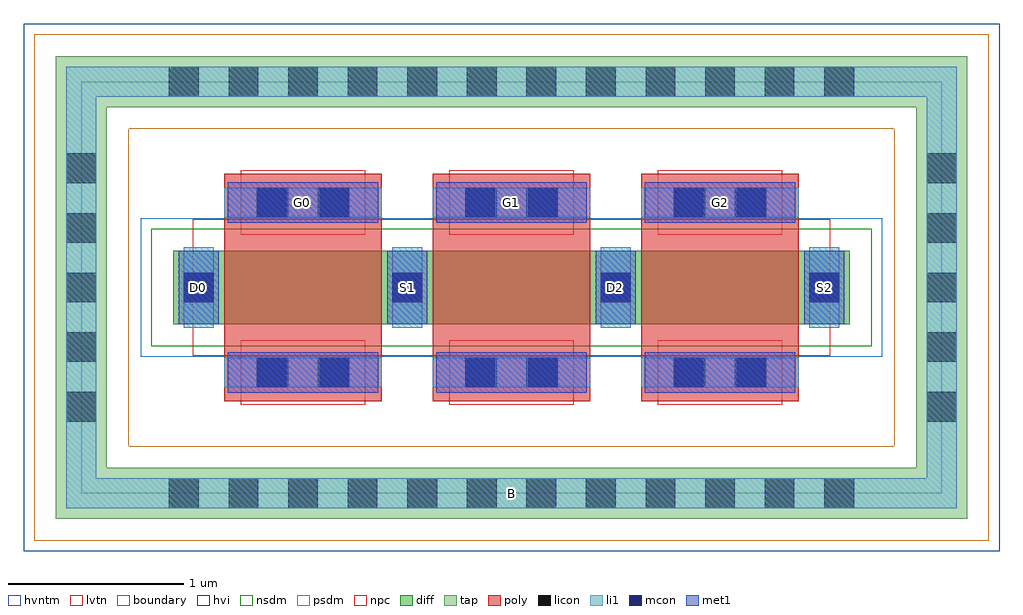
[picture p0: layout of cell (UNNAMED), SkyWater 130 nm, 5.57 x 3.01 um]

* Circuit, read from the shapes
.subckt (UNNAMED) B D0 D2 G0 G1 G2 S1 S2
XM1 S1 G0 D0 B sky130_fd_pr__nfet_05v0_nvt w=0.42 l=0.9
XM2 D2 G1 S1 B sky130_fd_pr__nfet_05v0_nvt w=0.42 l=0.9
XM3 S2 G2 D2 B sky130_fd_pr__nfet_05v0_nvt w=0.42 l=0.9
.ends

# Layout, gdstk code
import gdstk
lib = gdstk.Library(unit=1e-6, precision=1e-09)
def R(c, l, rs):  # rectangles x0, y0, x1, y1
    for r in rs: c.add(gdstk.rectangle(r[:2], r[2:], *l))
def A(c, l, x, y, w, h, nx, ny, dx, dy):  # array of equal rectangles
    R(c, l, [(x+i*dx, y+j*dy, x+i*dx+w, y+j*dy+h) for i in range(nx) for j in range(ny)])
diff = (65, 20)
tap = (65, 44)
poly = (66, 20)
licon = (66, 44)
li1 = (67, 20)
mcon = (67, 44)
met1 = (68, 20)
hvi = (75, 20)
nsdm = (93, 44)
psdm = (94, 20)
npc = (95, 20)
hvntm = (125, 20)
lvtn = (125, 44)
boundary = (235, 4)

c__unnamed_ = lib.new_cell('(UNNAMED)')
R(c__unnamed_, diff, [(-1.93,-0.21,1.93,0.21)])
R(c__unnamed_, tap, [(-2.6,-1.32,2.6,-1.03), (-2.6,-1.03,-2.31,1.03), (2.31,-1.03,2.6,1.03), (-2.6,1.03,2.6,1.32)])
A(c__unnamed_, poly, -1.64, -0.65, 0.9, 1.3, 3, 1, 1.19, 0)
A(c__unnamed_, licon, -1.955, -1.26, 0.17, 0.17, 12, 2, 0.34, 2.35)
A(c__unnamed_, licon, -2.54, -0.765, 0.17, 0.17, 1, 5, 0, 0.34)
A(c__unnamed_, licon, 2.37, -0.765, 0.17, 0.17, 1, 5, 0, 0.34)
A(c__unnamed_, licon, -1.87, -0.085, 0.17, 0.17, 4, 1, 1.19, 0)
R(c__unnamed_, licon, [(-1.445,-0.57,-1.275,-0.4), (-1.105,-0.57,-0.935,-0.4), (-0.255,-0.57,-0.085,-0.4), (0.085,-0.57,0.255,-0.4), (0.935,-0.57,1.105,-0.4), (1.275,-0.57,1.445,-0.4), (-1.445,0.4,-1.275,0.57), (-1.105,0.4,-0.935,0.57), (-0.255,0.4,-0.085,0.57), (0.085,0.4,0.255,0.57), (0.935,0.4,1.105,0.57), (1.275,0.4,1.445,0.57)])
A(c__unnamed_, li1, -1.64, -0.57, 0.9, 0.17, 3, 2, 1.19, 0.97)
A(c__unnamed_, li1, -1.87, -0.23, 0.17, 0.46, 4, 1, 1.19, 0)
R(c__unnamed_, li1, [(-2.54,-1.26,2.54,-1.09), (-2.54,-1.09,-2.37,1.09), (2.37,-1.09,2.54,1.09), (-2.54,1.09,2.54,1.26)])
A(c__unnamed_, mcon, -1.87, -0.085, 0.17, 0.17, 4, 1, 1.19, 0)
R(c__unnamed_, mcon, [(-1.455,-0.57,-1.285,-0.4), (-1.095,-0.57,-0.925,-0.4), (-0.265,-0.57,-0.095,-0.4), (0.095,-0.57,0.265,-0.4), (0.925,-0.57,1.095,-0.4), (1.285,-0.57,1.455,-0.4), (-1.455,0.4,-1.285,0.57), (-1.095,0.4,-0.925,0.57), (-0.265,0.4,-0.095,0.57), (0.095,0.4,0.265,0.57), (0.925,0.4,1.095,0.57), (1.285,0.4,1.455,0.57)])
A(c__unnamed_, met1, -1.62, -0.6, 0.86, 0.23, 3, 2, 1.19, 0.97)
A(c__unnamed_, met1, -1.9, -0.21, 0.23, 0.42, 4, 1, 1.19, 0)
R(c__unnamed_, hvi, [(-2.785,-1.505,2.785,1.505)])
R(c__unnamed_, nsdm, [(-2.055,-0.335,2.055,0.335)])
R(c__unnamed_, psdm, [(-2.725,-1.445,2.725,-0.905), (-2.725,-0.905,-2.185,0.905), (2.185,-0.905,2.725,0.905), (-2.725,0.905,2.725,1.445)])
A(c__unnamed_, npc, -1.545, -0.67, 0.71, 0.37, 3, 2, 1.19, 0.97)
R(c__unnamed_, hvntm, [(-2.115,-0.395,2.115,0.395)])
R(c__unnamed_, lvtn, [(-1.82,-0.39,1.82,0.39)])
R(c__unnamed_, boundary, [(-2.455,-1.175,2.455,1.175)])
c__unnamed_.add(gdstk.Label('B', (0,-1.175), layer=67, texttype=5))
c__unnamed_.add(gdstk.Label('D0', (-1.785,0), layer=67, texttype=5))
c__unnamed_.add(gdstk.Label('G0', (-1.19,0.485), layer=67, texttype=5))
c__unnamed_.add(gdstk.Label('S1', (-0.595,0), layer=67, texttype=5))
c__unnamed_.add(gdstk.Label('G1', (0,0.485), layer=67, texttype=5))
c__unnamed_.add(gdstk.Label('D2', (0.595,0), layer=67, texttype=5))
c__unnamed_.add(gdstk.Label('S2', (1.785,0), layer=67, texttype=5))
c__unnamed_.add(gdstk.Label('G2', (1.19,0.485), layer=67, texttype=5))

lib.write_gds('_UNNAMED_.gds')
